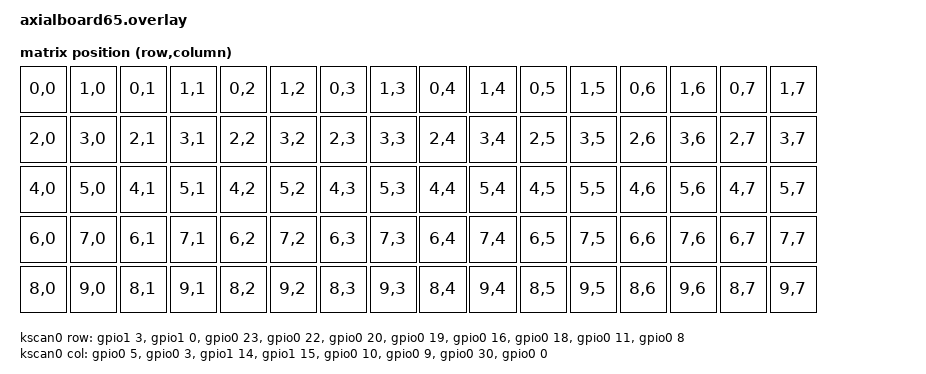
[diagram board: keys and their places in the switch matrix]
#include <dt-bindings/zmk/matrix_transform.h>
#include "axialboard65-layouts.dtsi"

/ {
    chosen { 
        zmk,kscan = &kscan0;
        zmk,physical-layout = &physical_layout0;
    };

    kscan0: kscan {
        compatible = "zmk,kscan-gpio-matrix";
        diode-direction = "col2row";

        debounce-press-ms = <1>;
        debounce-release-ms = <1>;
        debounce-scan-period-ms = <1>;

        /* COL = drive side (outputs) */
        col-gpios =
            <&gpio0 5 GPIO_ACTIVE_HIGH>,
            <&gpio0 3 GPIO_ACTIVE_HIGH>,
            <&gpio1 14 GPIO_ACTIVE_HIGH>,
            <&gpio1 15 GPIO_ACTIVE_HIGH>,
            <&gpio0 10 GPIO_ACTIVE_HIGH>,
            <&gpio0 9 GPIO_ACTIVE_HIGH>,
            <&gpio0 30 GPIO_ACTIVE_HIGH>,
            <&gpio0 0 GPIO_ACTIVE_HIGH>;

        /* ROW = read side (inputs) */
        row-gpios =
            <&gpio1 3 (GPIO_ACTIVE_HIGH | GPIO_PULL_DOWN)>,
            <&gpio1 0 (GPIO_ACTIVE_HIGH | GPIO_PULL_DOWN)>,
            <&gpio0 23 (GPIO_ACTIVE_HIGH | GPIO_PULL_DOWN)>,
            <&gpio0 22 (GPIO_ACTIVE_HIGH | GPIO_PULL_DOWN)>,
            <&gpio0 20 (GPIO_ACTIVE_HIGH | GPIO_PULL_DOWN)>,
            <&gpio0 19 (GPIO_ACTIVE_HIGH | GPIO_PULL_DOWN)>,
            <&gpio0 16 (GPIO_ACTIVE_HIGH | GPIO_PULL_DOWN)>,
            <&gpio0 18 (GPIO_ACTIVE_HIGH | GPIO_PULL_DOWN)>,
            <&gpio0 11 (GPIO_ACTIVE_HIGH | GPIO_PULL_DOWN)>,
            <&gpio0 8 (GPIO_ACTIVE_HIGH | GPIO_PULL_DOWN)>;

    };

    default_transform: matrix_transform {
        compatible = "zmk,matrix-transform";
        rows = <10>;
        columns = <8>;
        map = <
        RC(0,0) RC(1,0) RC(0,1) RC(1,1) RC(0,2) RC(1,2) RC(0,3) RC(1,3) RC(0,4) RC(1,4) RC(0,5) RC(1,5) RC(0,6) RC(1,6) RC(0,7) RC(1,7)
        RC(2,0) RC(3,0) RC(2,1) RC(3,1) RC(2,2) RC(3,2) RC(2,3) RC(3,3) RC(2,4) RC(3,4) RC(2,5) RC(3,5) RC(2,6) RC(3,6) RC(2,7) RC(3,7)
        RC(4,0) RC(5,0) RC(4,1) RC(5,1) RC(4,2) RC(5,2) RC(4,3) RC(5,3) RC(4,4) RC(5,4) RC(4,5) RC(5,5) RC(4,6) RC(5,6) RC(4,7) RC(5,7)
        RC(6,0) RC(7,0) RC(6,1) RC(7,1) RC(6,2) RC(7,2) RC(6,3) RC(7,3) RC(6,4) RC(7,4) RC(6,5) RC(7,5) RC(6,6) RC(7,6) RC(6,7) RC(7,7)
        RC(8,0) RC(9,0) RC(8,1) RC(9,1) RC(8,2) RC(9,2) RC(8,3) RC(9,3) RC(8,4) RC(9,4) RC(8,5) RC(9,5) RC(8,6) RC(9,6) RC(8,7) RC(9,7)
        >;
    };

};

&physical_layout0 {
    transform = <&default_transform>;
    kscan = <&kscan0>;
};

&physical_layout1 {transform = <&default_transform>;};
&physical_layout2 {transform = <&default_transform>;};
&physical_layout3 {transform = <&default_transform>;};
